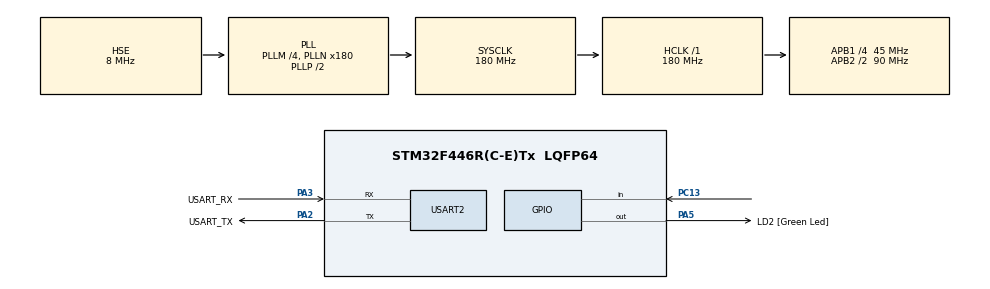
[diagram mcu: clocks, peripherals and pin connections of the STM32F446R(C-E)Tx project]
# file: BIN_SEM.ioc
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FREERTOS.BinarySemaphores01=BinSem,Dynamic,NULL
FREERTOS.Tasks01=NormalTask,0,128,Startnormaltask,Default,NULL,Dynamic,NULL,NULL;HighTask,1,128,Starthightask,Default,NULL,Dynamic,NULL,NULL;LowTask,-2,128,Startlowtask,Default,NULL,Dynamic,NULL,NULL
FREERTOS.configUSE_NEWLIB_REENTRANT=1
Mcu.Family=STM32F4
Mcu.Name=STM32F446R(C-E)Tx
Mcu.Package=LQFP64
NVIC.PriorityGroup=NVIC_PRIORITYGROUP_4
NVIC.TIM1_UP_TIM10_IRQn=true\:15\:0\:false\:false\:true\:false\:false\:true\:true
NVIC.TimeBase=TIM1_UP_TIM10_IRQn
NVIC.TimeBaseIP=TIM1
PA13.GPIO_Label=TMS
PA13.Signal=SYS_JTMS-SWDIO
PA14.GPIO_Label=TCK
PA14.Signal=SYS_JTCK-SWCLK
PA2.GPIO_Label=USART_TX
PA2.Mode=Asynchronous
PA2.Signal=USART2_TX
PA3.GPIO_Label=USART_RX
PA3.Mode=Asynchronous
PA3.Signal=USART2_RX
PA5.GPIO_Label=LD2 [Green Led]
PA5.Signal=GPIO_Output
PB3.GPIO_Label=SWO
PB3.Signal=SYS_JTDO-SWO
PC13.Signal=GPIO_Input
PC14-OSC32_IN.Mode=LSE-External-Oscillator
PC14-OSC32_IN.Signal=RCC_OSC32_IN
PC15-OSC32_OUT.Mode=LSE-External-Oscillator
PC15-OSC32_OUT.Signal=RCC_OSC32_OUT
PH0-OSC_IN.Mode=HSE-External-Oscillator
PH0-OSC_IN.Signal=RCC_OSC_IN
PH1-OSC_OUT.Mode=HSE-External-Oscillator
PH1-OSC_OUT.Signal=RCC_OSC_OUT
ProjectManager.HeapSize=0x200
ProjectManager.StackSize=0x400
ProjectManager.TargetToolchain=STM32CubeIDE
RCC.48MHZClocksFreq_Value=84000000
RCC.AHBFreq_Value=180000000
RCC.APB1CLKDivider=RCC_HCLK_DIV4
RCC.APB1Freq_Value=45000000
RCC.APB1TimFreq_Value=90000000
RCC.APB2CLKDivider=RCC_HCLK_DIV2
RCC.APB2Freq_Value=90000000
RCC.APB2TimFreq_Value=180000000
RCC.CortexFreq_Value=180000000
RCC.FLatency-AdvancedSettings=FLASH_LATENCY_5
RCC.HCLKFreq_Value=180000000
RCC.HSE_VALUE=8000000
RCC.HSI_VALUE=16000000
RCC.PLLM=4
RCC.PLLN=180
RCC.PLLSourceVirtual=RCC_PLLSOURCE_HSE
RCC.SYSCLKFreq_VALUE=180000000
RCC.SYSCLKSource=RCC_SYSCLKSOURCE_PLLCLK
RCC.USBFreq_Value=180000000
RCC.VCOOutputFreq_Value=360000000
USART2.VirtualMode=VM_ASYNC
VP_FREERTOS_VS_CMSIS_V1.Mode=CMSIS_V1
VP_SYS_VS_tim1.Mode=TIM1
board=NUCLEO-F446RE

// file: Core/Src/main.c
/* USER CODE BEGIN Header */
/**
  ******************************************************************************
  * @file           : main.c
  * @brief          : Main program body
  ******************************************************************************
  * @attention
  *
  * Copyright (c) 2024 STMicroelectronics.
  * All rights reserved.
  *
  * This software is licensed under terms that can be found in the LICENSE file
  * in the root directory of this software component.
  * If no LICENSE file comes with this software, it is provided AS-IS.
  *
  ******************************************************************************
  */
/* USER CODE END Header */
#include "main.h"
#include "cmsis_os.h"

UART_HandleTypeDef huart2;

osThreadId NormalTaskHandle;
osThreadId HighTaskHandle;
osThreadId LowTaskHandle;
osSemaphoreId BinSemHandle;

void SystemClock_Config(void);
static void MX_GPIO_Init(void);
static void MX_USART2_UART_Init(void);
void Startnormaltask(void const * argument);
void Starthightask(void const * argument);
void Startlowtask(void const * argument);

int main(void)
{

  /* MCU Configuration--------------------------------------------------------*/

  /* Reset of all peripherals, Initializes the Flash interface and the Systick. */
  HAL_Init();

  /* Configure the system clock */
  SystemClock_Config();

  /* Initialize all configured peripherals */
  MX_GPIO_Init();
  MX_USART2_UART_Init();

  /* Create the semaphores(s) */
  /* definition and creation of BinSem */
  osSemaphoreDef(BinSem);
  BinSemHandle = osSemaphoreCreate(osSemaphore(BinSem), 1);

  /* Create the thread(s) */
  /* definition and creation of NormalTask */
  osThreadDef(NormalTask, Startnormaltask, osPriorityNormal, 0, 128);
  NormalTaskHandle = osThreadCreate(osThread(NormalTask), NULL);

  /* definition and creation of HighTask */
  osThreadDef(HighTask, Starthightask, osPriorityAboveNormal, 0, 128);
  HighTaskHandle = osThreadCreate(osThread(HighTask), NULL);

  /* definition and creation of LowTask */
  osThreadDef(LowTask, Startlowtask, osPriorityLow, 0, 128);
  LowTaskHandle = osThreadCreate(osThread(LowTask), NULL);

  /* Start scheduler */
  osKernelStart();

  /* We should never get here as control is now taken by the scheduler */
  /* Infinite loop */
  while (1)
  {

  }
}

void SystemClock_Config(void)
{
  RCC_OscInitTypeDef RCC_OscInitStruct = {0};
  RCC_ClkInitTypeDef RCC_ClkInitStruct = {0};

  /** Configure the main internal regulator output voltage
  */
  __HAL_RCC_PWR_CLK_ENABLE();
  __HAL_PWR_VOLTAGESCALING_CONFIG(PWR_REGULATOR_VOLTAGE_SCALE1);

  /** Initializes the RCC Oscillators according to the specified parameters
  * in the RCC_OscInitTypeDef structure.
  */
  RCC_OscInitStruct.OscillatorType = RCC_OSCILLATORTYPE_HSE;
  RCC_OscInitStruct.HSEState = RCC_HSE_ON;
  RCC_OscInitStruct.PLL.PLLState = RCC_PLL_ON;
  RCC_OscInitStruct.PLL.PLLSource = RCC_PLLSOURCE_HSE;
  RCC_OscInitStruct.PLL.PLLM = 4;
  RCC_OscInitStruct.PLL.PLLN = 180;
  RCC_OscInitStruct.PLL.PLLP = RCC_PLLP_DIV2;
  RCC_OscInitStruct.PLL.PLLQ = 2;
  RCC_OscInitStruct.PLL.PLLR = 2;
  if (HAL_RCC_OscConfig(&RCC_OscInitStruct) != HAL_OK)
  {
    Error_Handler();
  }

  /** Activate the Over-Drive mode
  */
  if (HAL_PWREx_EnableOverDrive() != HAL_OK)
  {
    Error_Handler();
  }

  /** Initializes the CPU, AHB and APB buses clocks
  */
  RCC_ClkInitStruct.ClockType = RCC_CLOCKTYPE_HCLK|RCC_CLOCKTYPE_SYSCLK
                              |RCC_CLOCKTYPE_PCLK1|RCC_CLOCKTYPE_PCLK2;
  RCC_ClkInitStruct.SYSCLKSource = RCC_SYSCLKSOURCE_PLLCLK;
  RCC_ClkInitStruct.AHBCLKDivider = RCC_SYSCLK_DIV1;
  RCC_ClkInitStruct.APB1CLKDivider = RCC_HCLK_DIV4;
  RCC_ClkInitStruct.APB2CLKDivider = RCC_HCLK_DIV2;

  if (HAL_RCC_ClockConfig(&RCC_ClkInitStruct, FLASH_LATENCY_5) != HAL_OK)
  {
    Error_Handler();
  }
}

static void MX_USART2_UART_Init(void)
{

  huart2.Instance = USART2;
  huart2.Init.BaudRate = 115200;
  huart2.Init.WordLength = UART_WORDLENGTH_8B;
  huart2.Init.StopBits = UART_STOPBITS_1;
  huart2.Init.Parity = UART_PARITY_NONE;
  huart2.Init.Mode = UART_MODE_TX_RX;
  huart2.Init.HwFlowCtl = UART_HWCONTROL_NONE;
  huart2.Init.OverSampling = UART_OVERSAMPLING_16;
  if (HAL_UART_Init(&huart2) != HAL_OK)
  {
    Error_Handler();
  }

}

static void MX_GPIO_Init(void)
{
  GPIO_InitTypeDef GPIO_InitStruct = {0};

  /* GPIO Ports Clock Enable */
  __HAL_RCC_GPIOC_CLK_ENABLE();
  __HAL_RCC_GPIOH_CLK_ENABLE();
  __HAL_RCC_GPIOA_CLK_ENABLE();
  __HAL_RCC_GPIOB_CLK_ENABLE();

  /*Configure GPIO pin Output Level */
  HAL_GPIO_WritePin(LD2_GPIO_Port, LD2_Pin, GPIO_PIN_RESET);

  /*Configure GPIO pin : PC13 */
  GPIO_InitStruct.Pin = GPIO_PIN_13;
  GPIO_InitStruct.Mode = GPIO_MODE_INPUT;
  GPIO_InitStruct.Pull = GPIO_NOPULL;
  HAL_GPIO_Init(GPIOC, &GPIO_InitStruct);

  /*Configure GPIO pin : LD2_Pin */
  GPIO_InitStruct.Pin = LD2_Pin;
  GPIO_InitStruct.Mode = GPIO_MODE_OUTPUT_PP;
  GPIO_InitStruct.Pull = GPIO_NOPULL;
  GPIO_InitStruct.Speed = GPIO_SPEED_FREQ_LOW;
  HAL_GPIO_Init(LD2_GPIO_Port, &GPIO_InitStruct);

}

void Startnormaltask(void const * argument)
{
  /* USER CODE BEGIN 5 */
  /* Infinite loop */
  for(;;)
  {
	  char *str1 = "Entered NormalTask\n";
	  	 	  HAL_UART_Transmit(&huart2, (uint8_t *)str1, strlen (str1), 100);

	  	 	  char *str2 = "LeavingNormalTask\n\n";
	  	 	  HAL_UART_Transmit(&huart2, (uint8_t *)str2, strlen (str2), 100);

	  	 	  osDelay(500);
  }
  /* USER CODE END 5 */
}

void Starthightask(void const * argument)
{
  /* USER CODE BEGIN Starthightask */
  /* Infinite loop */
  for(;;)
  {
	  char *str1 = "Entered HighTask and waiting for semaphore\n";
	  HAL_UART_Transmit(&huart2, (uint8_t *)str1, strlen (str1), 100);

	  osSemaphoreWait(BinSemHandle, osWaitForever);

	  char *str3 = "Semaphore acquired by HighTask\n";
	  HAL_UART_Transmit(&huart2, (uint8_t *)str3, strlen (str3), 100);

	  char *str2 = "Leaving HighTask and releasing Semaphore \n\n";
	  HAL_UART_Transmit(&huart2, (uint8_t *)str2, strlen (str2), 100);

	  osSemaphoreRelease(BinSemHandle);
	  osDelay(500);
  }
  /* USER CODE END Starthightask */
}

void Startlowtask(void const * argument)
{
  /* USER CODE BEGIN Startlowtask */
  /* Infinite loop */
  for(;;)
  {

	  char *str1 = "Entered LowTask and waiting for semaphore\n";
	 	 	  HAL_UART_Transmit(&huart2, (uint8_t *)str1, strlen (str1), 100);

	 	 	  osSemaphoreWait(BinSemHandle, osWaitForever);

	 	 	  char *str3 = "Semaphore acquired by LowTask\n";
	 	 	  HAL_UART_Transmit(&huart2, (uint8_t *)str3, strlen (str3), 100);

	 	 	  while (HAL_GPIO_ReadPin(GPIOC, GPIO_PIN_13)); //start first exec and thatn wait until the pin go low

	 	 	  char *str2 = "Leaving LowTask and releasing Semaphore \n\n";
	 	 	  HAL_UART_Transmit(&huart2, (uint8_t *)str2, strlen (str2), 100);

	 	 	  osSemaphoreRelease(BinSemHandle);

	 	 	  osDelay(500);

  }
  /* USER CODE END Startlowtask */
}

void HAL_TIM_PeriodElapsedCallback(TIM_HandleTypeDef *htim)
{
  if (htim->Instance == TIM1) {
    HAL_IncTick();
  }
}

void Error_Handler(void)
{
  __disable_irq();
  while (1)
  {
  }
}
